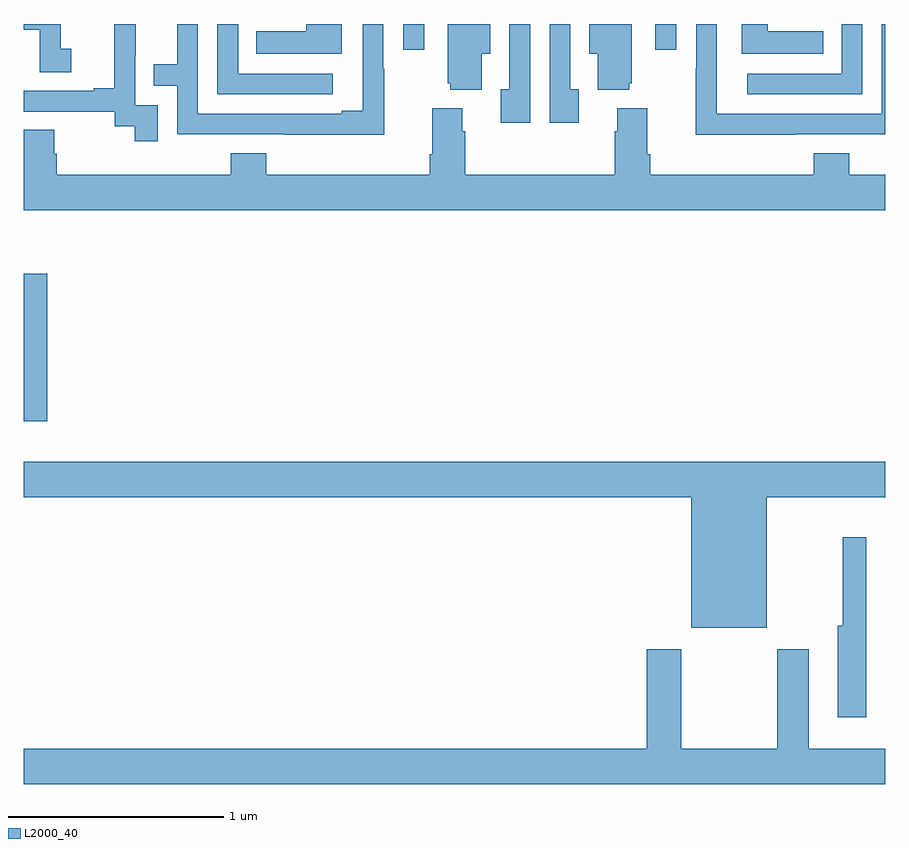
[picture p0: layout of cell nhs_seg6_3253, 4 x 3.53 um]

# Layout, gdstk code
import gdstk
lib = gdstk.Library(unit=1e-6, precision=1e-09)
def R(c, l, rs):  # rectangles x0, y0, x1, y1
    for r in rs: c.add(gdstk.rectangle(r[:2], r[2:], *l))
def P(c, l, *ps):  # polygons
    for p in ps: c.add(gdstk.Polygon(p, *l))
L2000_40 = (2000, 40)

nhs_seg6_3253 = lib.new_cell('nhs_seg6_3253')
R(nhs_seg6_3253, L2000_40, [(301,979.656,301.109,980.341), (302.763,981.381,302.859,981.5), (303.933,981.381,304.029,981.5)])
P(nhs_seg6_3253, L2000_40, [(303.351,981.5),(303.255,981.5),(303.255,981.198),(303.215,981.198),(303.215,981.042),(303.351,981.042)],
  [(303.577,981.198),(303.537,981.198),(303.537,981.5),(303.441,981.5),(303.441,981.042),(303.577,981.042)],
  [(302.673,981.293),(302.67,981.293),(302.67,981.5),(302.574,981.5),(302.574,981.097),(302.477,981.097),(302.477,981.084),(301.809,981.084),(301.809,981.5),(301.713,981.5),(301.713,981.314),(301.603,981.314),(301.603,981.213),(301.713,981.213),(301.713,980.988),(302.209,980.988),(302.209,980.987),(302.673,980.987)],
  [(302.434,981.27),(301.995,981.27),(301.995,981.5),(301.899,981.5),(301.899,981.174),(302.434,981.174)],
  [(302.476,981.5),(302.337,981.5),(302.337,981.498),(302.311,981.498),(302.311,981.466),(302.08,981.466),(302.08,981.362),(302.476,981.362)],
  [(301.623,981.123),(301.518,981.123),(301.518,981.353),(301.52,981.353),(301.52,981.5),(301.42,981.5),(301.42,981.485),(301.421,981.485),(301.421,981.202),(301.325,981.202),(301.325,981.189),(301,981.189),(301,981.093),(301.422,981.093),(301.422,981.025),(301.515,981.025),(301.515,980.955),(301.623,980.955)],
  [(301.222,981.385),(301.173,981.385),(301.173,981.5),(301,981.5),(301,981.474),(301.074,981.474),(301.074,981.276),(301.222,981.276)],
  [(303.127,981.362),(303.166,981.362),(303.166,981.5),(302.969,981.5),(302.969,981.225),(302.981,981.225),(302.981,981.194),(303.127,981.194)],
  [(304.712,981.466),(304.455,981.466),(304.455,981.5),(304.334,981.5),(304.334,981.362),(304.712,981.362)],
  [(304.893,981.5),(304.797,981.5),(304.797,981.27),(304.359,981.27),(304.359,981.174),(304.893,981.174)],
  [(303.812,981.225),(303.823,981.225),(303.823,981.5),(303.626,981.5),(303.626,981.362),(303.665,981.362),(303.665,981.194),(303.812,981.194)],
  [(304.583,980.988),(305,980.988),(305,981.5),(304.983,981.5),(304.983,981.084),(304.218,981.084),(304.218,981.5),(304.122,981.5),(304.122,981.293),(304.12,981.293),(304.12,980.987),(304.583,980.987)],
  [(305,980.8),(304.832,980.8),(304.832,980.899),(304.667,980.899),(304.667,980.8),(303.908,980.8),(303.908,980.896),(303.895,980.896),(303.895,981.109),(303.755,981.109),(303.755,981.002),(303.743,981.002),(303.743,980.8),(303.05,980.8),(303.05,981.002),(303.037,981.002),(303.037,981.109),(302.897,981.109),(302.897,980.896),(302.885,980.896),(302.885,980.8),(302.126,980.8),(302.126,980.899),(301.961,980.899),(301.961,980.8),(301.154,980.8),(301.154,980.898),(301.141,980.898),(301.141,981.008),(301,981.008),(301,980.636),(305,980.636)],
  [(304.45,979.304),(305,979.304),(305,979.468),(301,979.468),(301,979.304),(304.1,979.304),(304.1,978.698),(304.45,978.698)],
  [(304.912,978.602),(304.911,978.602),(304.911,979.117),(304.803,979.117),(304.803,978.706),(304.778,978.706),(304.778,978.282),(304.912,978.282)],
  [(305,978.136),(304.645,978.136),(304.645,978.598),(304.498,978.598),(304.498,978.136),(304.053,978.136),(304.053,978.598),(303.893,978.598),(303.893,978.136),(301,978.136),(301,977.972),(305,977.972)])

lib.write_gds('nhs_seg6_3253.gds')
